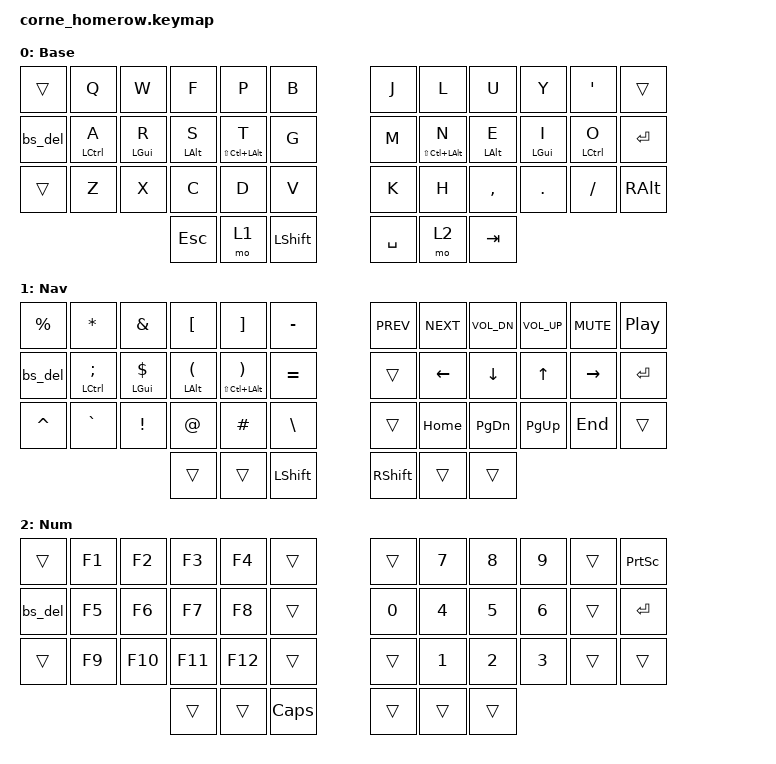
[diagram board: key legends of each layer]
/*
 * Corne 6-column, nice!nano v2.
 *
 * Plain devicetree: no macros, no zmk-helpers. This is the format the
 * ZMK Keymap Editor and ZMK Studio can read and write back.
 */

#include <behaviors/num_word.dtsi> // Requires auto-layer module.
#include <behaviors.dtsi>
#include <dt-bindings/zmk/keys.h>

/* Global defaults */

&sk {
    release-after-ms = <900>;
    quick-release;
};

&sl {
    ignore-modifiers;
};

&lt {
    flavor = "balanced";
    tapping-term-ms = <200>;
    quick-tap-ms = <150>;
};

&caps_word {
    /delete-property/ ignore-modifiers;
};

/ {
    chosen { zmk,physical-layout = &foostan_corne_6col_layout; };

    behaviors {
        /* Homerow mods */

        hml: hml {
            compatible = "zmk,behavior-hold-tap";
            #binding-cells = <2>;
            bindings = <&kp>, <&kp>;

            flavor = "balanced";
            tapping-term-ms = <250>;
            quick-tap-ms = <150>;
            require-prior-idle-ms = <150>;
            hold-trigger-on-release;
            hold-trigger-key-positions = <6 7 8 9 10 11 18 19 20 21 22 23 30 31 32 33 34 35 36 37 38 39 40 41>;
        };

        hmr: hmr {
            compatible = "zmk,behavior-hold-tap";
            #binding-cells = <2>;
            bindings = <&kp>, <&kp>;

            flavor = "balanced";
            tapping-term-ms = <250>;
            quick-tap-ms = <150>;
            require-prior-idle-ms = <150>;
            hold-trigger-on-release;
            hold-trigger-key-positions = <5 4 3 2 1 0 17 16 15 14 13 12 29 28 27 26 25 24 36 37 38 39 40 41>;
        };

        /* Nav cluster: tap-action on all interrupts. */

        mt_home: mt_home {
            compatible = "zmk,behavior-hold-tap";
            #binding-cells = <2>;
            bindings = <&masked_home>, <&kp>;

            flavor = "tap-preferred";
            tapping-term-ms = <220>;
            quick-tap-ms = <220>;
            hold-trigger-key-positions = <0>;
        };

        mt_end: mt_end {
            compatible = "zmk,behavior-hold-tap";
            #binding-cells = <2>;
            bindings = <&masked_end>, <&kp>;

            flavor = "tap-preferred";
            tapping-term-ms = <220>;
            quick-tap-ms = <220>;
            hold-trigger-key-positions = <0>;
        };

        /* Mask CTRL on left/right hold to avoid accidental jumps to start/end of doc. */

        masked_home: masked_home {
            compatible = "zmk,behavior-mod-morph";
            #binding-cells = <0>;
            bindings = <&kp HOME>, <&kp HOME>;

            mods = <(MOD_LCTL)>;
        };

        masked_end: masked_end {
            compatible = "zmk,behavior-mod-morph";
            #binding-cells = <0>;
            bindings = <&kp END>, <&kp END>;

            mods = <(MOD_LCTL)>;
        };

        /* Tap: backspace | Lshft + tap: delete | Rshft + tap: shift-delete. */

        bs_del: bs_del {
            compatible = "zmk,behavior-mod-morph";
            #binding-cells = <0>;
            bindings = <&kp BSPC>, <&kp DEL>;

            mods = <(MOD_LSFT|MOD_RSFT)>;
            keep-mods = <MOD_RSFT>;
        };

        /* Tap: num-word | double-tap: sticky num-layer | Hold: num-layer. */

        num_dance: num_dance {
            compatible = "zmk,behavior-tap-dance";
            #binding-cells = <0>;
            bindings = <&num_word 2>, <&sl 2>;

            tapping-term-ms = <200>;
        };

        smart_num: smart_num {
            compatible = "zmk,behavior-hold-tap";
            #binding-cells = <2>;
            bindings = <&mo>, <&num_dance>;

            flavor = "balanced";
            tapping-term-ms = <200>;
            quick-tap-ms = <150>;
        };

        /* Tap: repeat after alpha, else sticky-shift. */

        shift_repeat: shift_repeat {
            compatible = "zmk,behavior-adaptive-key";
            #binding-cells = <0>;
            bindings = <&sk LSHFT>;

            repeat {
                trigger-keys = <A B C D E F G H I J K L M N O P Q R S T U V W X Y Z>;
                bindings = <&key_repeat>;
                max-prior-idle-ms = <1200>;
                strict-modifiers;
            };
        };
    };

    keymap {
        compatible = "zmk,keymap";

        base {
            display-name = "Base";
            bindings = <
&trans   &kp Q         &kp W        &kp F        &kp P                &kp B        &kp J      &kp L                &kp U        &kp Y        &kp SQT       &trans
&bs_del  &hml LCTRL A  &hml LGUI R  &hml LALT S  &hml LS(LC(LALT)) T  &kp G        &kp M      &hmr LS(LC(LALT)) N  &hmr LALT E  &hmr LGUI I  &hmr LCTRL O  &kp RET
&trans   &kp Z         &kp X        &kp C        &kp D                &kp V        &kp K      &kp H                &kp COMMA    &kp DOT      &kp SLASH     &kp RALT
                                    &kp ESC      &mo 1                &kp LSHFT    &kp SPACE  &mo 2                &kp TAB
            >;
        };

        nav {
            display-name = "Nav";
            bindings = <
&kp PERCENT  &kp STAR              &kp AMPERSAND     &kp LBKT        &kp RBKT                &kp MINUS        &kp C_PREV  &kp C_NEXT  &kp C_VOL_DN   &kp C_VOL_UP  &kp C_MUTE  &kp C_PP
&bs_del      &hml LCTRL SEMICOLON  &hml LGUI DOLLAR  &hml LALT LPAR  &hml LS(LC(LALT)) RPAR  &kp EQUAL        &trans      &kp LEFT    &kp DOWN       &kp UP        &kp RIGHT   &kp ENTER
&kp CARET    &kp GRAVE             &kp EXCL          &kp AT          &kp HASH                &kp BACKSLASH    &trans      &kp HOME    &kp PAGE_DOWN  &kp PAGE_UP   &kp END     &trans
                                                     &trans          &trans                  &kp LSHFT        &kp RSHFT   &trans      &trans
            >;
        };

        num {
            display-name = "Num";
            bindings = <
&trans   &kp F1  &kp F2   &kp F3   &kp F4   &trans          &trans  &kp N7  &kp N8  &kp N9  &trans  &kp PSCRN
&bs_del  &kp F5  &kp F6   &kp F7   &kp F8   &trans          &kp N0  &kp N4  &kp N5  &kp N6  &trans  &kp ENTER
&trans   &kp F9  &kp F10  &kp F11  &kp F12  &trans          &trans  &kp N1  &kp N2  &kp N3  &trans  &trans
                          &trans   &trans   &kp CAPSLOCK    &trans  &trans  &trans
            >;
        };
    };
};
